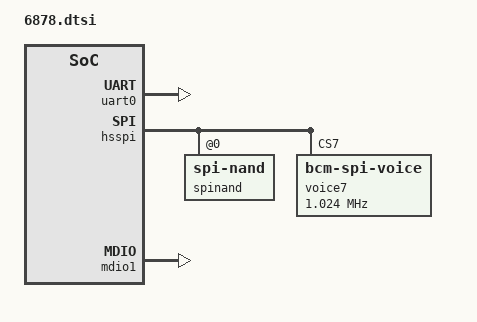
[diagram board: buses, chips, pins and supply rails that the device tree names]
/dts-v1/;

#include "linux_autoconf.h"

#include "../../boot_rsvdmem.dtsi"
#include "../../bcm_thermal.dtsi"

/ {
	/* arch */
	#define MODEL "Broadcom BCM96878"
	#define COMPATIBLE "brcm,bcm96878"
	#define PMU_CORE0_SPI			9
	#define PMU_CORE1_SPI			10
	#include "../../ip/bcm_cortexA7_dual.dtsi"

	#define PERIPH_CLK		200000000
	#define HS_SPI_PLL_CLK	200000000
	#include "../../ip/bcm_clocks.dtsi"

	/* memory reservations */
	#include "../../bcm_rsvdmem.dtsi"

	/* memc */
	memory_controller {
		#define BP_DDR_SUPPORT_2L_PCB	   1
		#define MEMC_REG_NAMES	"memc-int-clear-reg", \
					"memc-int-mask-clear-reg", \
					"phyctl_idle_pad_ctl",  \
					"phyctl_idle_pad_en0",  \
					"phyctl_idle_pad_en1",  \
					"phybl0_idle_pad_ctl",  \
					"phybl1_idle_pad_ctl",  \
					"phybl0_clock_idle",    \
					"phybl1_clock_idle",    \
					"auto_self_refresh",    \
					"glb_gcfg"

		#define MEMC_REG	<0x80180E08 4>, \
					<0x80180E14 4>, \
					<0x801A002C 4>, \
					<0x801A0030 4>, \
					<0x801A0030 4>, \
					<0x801A04AC 4>, \
					<0x801A06AC 4>, \
					<0x801A04D4 4>, \
					<0x801A06D4 4>, \
					<0x8018025C 4>, \
					<0x80180004 4>

		#define MEMC_CPU_INT_LINE		18

		#include "../../ip/memc.dtsi"
	};

	aliases {
        serial0 = &uart0;
		spi1 = &hsspi; /* 0 = legacy, 1 = high speed */
		hs_serial0 = &hs_uart0;
		spinand0 = &spinand;
		nand0 = &nand;	    
	};

	chosen {
	   stdout-path = "serial0:115200n8";
	   /* increase coherent_pool size */
	   bootargs = "coherent_pool=2M cpuidle_sysfs_switch pci=pcie_bus_safe console=ttyAMA0,115200 earlyprintk  rootwait pci=pcie_bus_safe rng_core.default_quality=1024";
	};

	/* wan type auto detect */
	wantype_detect {
		#define GPON_GENERAL_CONFIG_ADDR		0x82db1000
		#define GPON_GENERAL_CONFIG_SIZE		0x10
		#define EPON_TOP_ADDR				0x82dac000
		#define EPON_TOP_SIZE				0x1C
		#define EPON_LIF_ADDR				0x82dad800
		#define EPON_LIF_SIZE				0x110
		#include "../../ip/bcm_wantype_detect.dtsi"
	};

	misc_io {
		compatible = "brcm,misc-io";
		misc-periph-chip-id-rev = <0xff800000 0x4>;
		misc-periph-chip-id-mask = <0xfffff000>;
		misc-periph-chip-id-shift = <12>;
		misc-periph-chip-rev-mask = <0xfff>;
	};

	/* PMC */
	pmc: pmc {
		#define PMC_REG_OFFSET              0xffb20060
		#define PMC_REG_SIZE                0x1e0
		#include "../../ip/bcm_pmc_lite.dtsi"
	};

	/* UBUS */
	ubus: ubus {
		compatible = "simple-bus";
		#address-cells = <1>;
		#size-cells = <1>;
		ranges;

		ubus_sys: ubus_sys {
			#address-cells = <1>;
			#size-cells = <1>;
			#define UBUS_SYSTOP_OFFSET         0x83000000
			#define UBUS_SYSTOP_SIZE           0x80
			#define UBUS_REGISTRATION_OFFSET   0x83000200
			#define UBUS_REGISTRATION_SIZE     0x80
			#define UBUS_MODULE_XRDP           0x0
			#include "../../ip/bcm_ubus4.dtsi"
			ubus_mst_sys: ubus_mst {
				reg-names = "BIU", "PER", "USB", "WIFI0",
					"PCIE0", "QM", "DMA0", "RQ0";
				reg = <0x83020000 0x1000>,
					<0x83058000 0x1000>,
					<0x83038000 0x1000>,
					<0x83050000 0x1000>,
					<0x8300C000 0x1000>,
					<0x830AC000 0x1000>,
					<0x83064000 0x1000>,
					<0x83080000 0x1000>;
			};
		};

		ubus_dcm_sys: ubus_dcm_sys {
			#define UBUS_DCM_CLK_OFFSET  0x83000080
			#define UBUS_DCM_CLK_SIZE    0x80
			#define UBUS_MODULE_XRDP     0x0
			#include "../../ip/bcm_ubus4_dcm.dtsi"
		};
	};

	periph {
		compatible = "simple-bus";
		#address-cells = <1>;
		#size-cells = <1>;
		ranges = <0x0 0xff800000 0x100000>;

		/* boot state */
		boot_state: boot_state {
			#define RESET_REASON_OFFSET  0x2628
			#define RESET_REASON_SIZE    0x4
			#define RESET_STATUS_OFFSET  0x5a03c
			#define RESET_STATUS_SIZE    0x4
			#include "../../ip/bcm_boot_state_v2.dtsi"
		};
	
		strap: strap {
			#define STRAP_REG_OFFSET            0x2600
			#define STRAP_REG_SIZE              0x4
			#include "../../ip/bcm_strap.dtsi"
			boot-select-0=<5 1>;
			boot-select-1=<6 1>;
			boot-select-2=<7 1>;
			boot-select-3=<8 1>;
			boot-select-4=<9 1>;
			boot-select-5=<10 1>;
			bootrom-boot=<11 0>;
		};

		dying_gasp: dying_gasp {
			#define DG_PERIPH_REG_OFFSET	0x5A024
			#define DG_PERIPH_REG_SIZE	0x4
			#define DG_UART_DR_OFFSET	0x12000
			#define DG_UART_DR_SIZE		0x4
			#include "../../ip/bcm_dgasp_periph.dtsi"
			interrupts = <GIC_SPI 29 IRQ_TYPE_LEVEL_HIGH>;
		};

		otp: otp {
			#define OTP_REG_OFFSET            0x2800 
			#define OTP_REG_SIZE              0x78
			#include "../../ip/bcm_otp.dtsi"
		};

		nand: nand {
			pinctrl-0 = <&data_pins &nand_ctrl_pins>;
			pinctrl-names = "default";
			#define NAND_CTRL_OFFSET		0x1800
			#define NAND_CTRL_SIZE			0x400
			#define NAND_INTR_OFFSET		0x2000
			#define NAND_INTR_SIZE			0x10
			#define NAND_CACHE_OFFSET		0x1C00
			#define NAND_CACHE_SIZE			0x200
			#include "../../ip/bcm_nand7_1.dtsi"
		};

		hs_uart0: hs_serial0 {
			#define UART_OFFSET			0x10400
			#define UART_SIZE			0x1E0
			#define UART_SPI 			93
			#include "../../ip/bcm_hs_uart.dtsi"
		};

		/* UART */
		uart0: serial0 {
			#define UART_OFFSET			0x12000
			#define UART_SIZE			0x1000
			#define UART_SPI			92
			#define UART_CLK_LABEL			refclk50mhz
			#define UART_CLK			50000000
			#include "../../ip/bcm_arm_uart.dtsi"
		};
		
		rng: rng {
			#define RNG200_OFFSET			0xb80
			#define RNG200_SIZE			0x28
			#include "../../ip/bcm_rng200.dtsi"
		};

		/* i2c */
		i2c0: i2c0 {
			#define I2C_OFFSET			0x2100
			#define I2C_SIZE			0x60
			#include "../../ip/bcm_i2c_bus.dtsi"
		};

		/* watchdog */
		wdt: watchdog {
			#define WATCHDOG_OFFSET			0x480
			#define WATCHDOG_SIZE			0x10
			#define WATCHDOG_TIMEOUT		80
			#include "../../ip/bcm_wdt.dtsi"
			interrupts = <GIC_SPI 16 IRQ_TYPE_LEVEL_HIGH>;
		};

		/* periph timers */
		timers: timers {
			#define TIMERS_OFFSET		0x400
			#define TIMERS__SIZE		0x48
			#define TIMER0_SPI			11
			#define TIMER1_SPI			12
			#define TIMER2_SPI			13
			#define TIMER3_SPI			14
			#include "../../ip/bcm_timer.dtsi"
		};

		/* watchdog reboot */
		wdt-reboot {
			compatible = "wdt-reboot";
			wdt = <&wdt>;
		};
		
		pincontroller: pinctrl {
			#define PINCTRL_OFFSET       0x554
			#define PINCTRL_SIZE         0xc
			#define PINCTRL_NUM_PINS     71 
			#define PINCTRL_NUM_FUNC     8
			#define PINCTRL_GPIO_FUNC    4
			#include "../../ip/bcm_bca_pinctrl.dtsi"
			#include "6878_pinctrl.dtsi"
		};

		/* gpio */
		gpioc: gpioc {
			#define GPIO_DIR_OFFSET      0x500
			#define GPIO_DIR_SIZE        0x20
			#define GPIO_DATA_OFFSET     0x520
			#define GPIO_DATA_SIZE       0x20
			#define NUM_OF_GPIOS         71 
			#include "../../ip/bcm_bca_gpio.dtsi"
		};

		/* external interrups */
		bca_extintr: bca_extintr0 {
			#define EXTINTR_OFFSET       0x4
			#define EXTINTR_SIZE         0x48
			#define MAX_EXT_INTR         8
			#include "../../ip/bcm_bca_extintr.dtsi"
			external_interrupts = <177 178 179 180 181 182 183 184>;
		};

		/* Led Controller */
		led_ctrl: led_ctrl {
			#define LED_GLBL_CTRL_OFFSET     0x700
			#define LED_GLBL_CTRL_SIZE       0x4 
			#define LED_HW_EN_OFFSET         0x708
			#define LED_HW_EN_SIZE           0x4
			#define LED_SER_SHIFT_OFFSET     0x70c
			#define LED_SER_SHIFT_SIZE       0x4
			#define LED_FLASH_RATE_OFFSET    0x710
			#define LED_FLASH_RATE_SIZE      0x10
			#define LED_BRIGHTNESS_OFFSET    0x720
			#define LED_BRIGHTNESS_SIZE      0x10
			#define LED_POWER_LED_CFG_OFFSET 0x730
			#define LED_POWER_LED_CFG_SIZE   0x4
			#define LED_POWER_LUT_OFFSET     0x734
			#define LED_POWER_LUT_SIZE       0x80
			#define LED_HW_POLARITY_OFFSET   0x7b4
			#define LED_HW_POLARITY_SIZE     0x4
			#define LED_SW_DATA_OFFSET       0x7b8
			#define LED_SW_DATA_SIZE         0x4
			#define LED_SW_POLARITY_OFFSET   0x7bc
			#define LED_SW_POLARITY_SIZE     0x4
			#define LED_PAR_POLARITY_OFFSET  0x7c0
			#define LED_PAR_POLARITY_SIZE    0x4
			#define LED_SER_POLARITY_OFFSET  0x7c4
			#define LED_SER_POLARITY_SIZE    0x4
			#define LED_MASK_OFFSET          0x704
			#define LED_MASK_SIZE            0x4
			#define MAX_SUPPORTED_LEDS       32

			hw-polarity-quirk = <0xc0000000>;
			status = "okay";
			#include "../../ip/bcm_led_ctrl.dtsi"
			#include "6878_leds.dtsi"
		};

		/* HS SPI */
		hsspi: spi {
			pinctrl-0 = <&spim_group_pins>;
			pinctrl-names = "default";			
			#define HS_SPI_OFFSET			0x1000
			#define HS_SPI_SIZE			0x600
			#define HS_SPI_MAX_FREQ			50000000
			#include "../../ip/bcm_hsspi.dtsi"

			spinand: spi-nand@0 {
				pinctrl-0 = <&spim_ss0_b_pin_59>;
				pinctrl-names = "default";
				#define SPINAND_MAX_FREQ	50000000
				#include "../../ip/bcm_spinand.dtsi"
			};

			voice7 {
				pinctrl-0 = <&pcm_sdin_pin_0 &pcm_sdout_pin_1 &pcm_clk_pin_2 &pcm_fs_pin_3>;
				pinctrl-names = "default";
				compatible = "bcm-spi-voice";
				reg = <7>; /* chip select 7 */
				spi-index = <7>;/* ZSI/ISI header position index */
				spi-max-frequency = <1024000>;
			};
		};

		bcm63xx-apm-pcm {
			compatible = "brcm,bcm63xx-apm-pcm";
			reg = <0x60000 0x1c60>;
			interrupts = <GIC_SPI 114 IRQ_TYPE_LEVEL_HIGH>;
		};		
    };

    legacy_leds: legacy_leds {
        compatible = "brcm,legacy-led";
    };

    xrdpled {
		compatible = "brcm,xrdp-led";
        reg = <0x82d98200 0x80>;
    };

    unimac {
		compatible = "brcm,unimac";
        reg = <0x82da0000 0x5000>,
              <0x82da8000 0x1400>,
              <0x82daa000 0x1400>;
        conf_offset = <0x1000>;
        mib_offset = <0x400>;
        top_offset = <0x400>;
    };

    egphy {
		compatible = "brcm,egphy";
        reg = <0x82db2204 0x0c>;
    };

    mdio1 {
		compatible = "brcm,mdio1";
        reg = <0xff802060 0x10>;
    };

	rgmii: rgmii {
        compatible = "brcm,rgmii1";
        reg = <0x82d98300 0x44>,
              <0xff800500 0x78>,
              <0xff85a004 0x04>;
        status = "disabled";
	};

    mdio: mdio {
        compatible = "simple-bus";
        bus-type = "MDIO_V1";

        #address-cells = <1>;
        #size-cells = <0>;

        phy1:1 {
                compatible = "brcm,bcaphy";
                phy-type = "EGPHY";
                reg = <1>;
                status = "disabled";
        };

        phy2:2 {
                compatible = "brcm,bcaphy";
                phy-type = "EGPHY";
                reg = <2>;
                status = "disabled";
        };

        phy3:3 {
                compatible = "brcm,bcaphy";
                phy-type = "EGPHY";
                reg = <3>;
                status = "disabled";
        };

        phy4:4 {
                compatible = "brcm,bcaphy";
                phy-type = "EGPHY";
                reg = <4>;
                status = "disabled";
        };

        phy_rgmii:rgmii {
                compatible = "brcm,bcaphy";
                phy-type = "EXT1";
                status = "disabled";
        };
    };

    wan_serdes_bus {
        compatible = "simple-bus";

        #address-cells = <1>;
        #size-cells = <0>;

        phy_wan_serdes: phy_wan_serdes {
            compatible = "brcm,bcaphy";
            phy-type = "PON";
            reg = <0>;
            status = "disabled";
        };
    };

    switch0: switch {
        compatible = "brcm,enet";
        label = "bcmsw";
        sw-type = "RUNNER_SW";

        ports {
                #address-cells = <1>;
                #size-cells = <0>;

                port_gphy0 {
                        reg = <0>;
                        mac-type = "UNIMAC";
                        phy-handle = <&phy1>;
                        phy-mode = "gmii";
                        gmii-direct;
                        status = "disabled";
                };

                port_gphy1 {
                        reg = <1>;
                        mac-type = "UNIMAC";
                        phy-handle = <&phy2>;
                        phy-mode = "gmii";
                        gmii-direct;
                        status = "disabled";
                };

                port_gphy2 {
                        reg = <2>;
                        mac-type = "UNIMAC";
                        phy-handle = <&phy3>;
                        phy-mode = "gmii";
                        gmii-direct;
                        status = "disabled";
                };

                port_gphy3 {
                        reg = <3>;
                        mac-type = "UNIMAC";
                        phy-handle = <&phy4>;
                        phy-mode = "gmii";
                        gmii-direct;
                        status = "disabled";
                };

                port_rgmii {
                        reg = <4>;
                        mac-type = "UNIMAC";
                        phy-handle = <&phy_rgmii>;
                        phy-mode = "rgmii";
                        gmii-direct;
                        status = "disabled";
                };

                port_wan {
                        reg = <5>;
                        phy-handle = <&phy_wan_serdes>;
                        phy-mode = "serdes";
                        detect;
                        is-wan;
                        is-wanconf-mux-ae;
                        is-wanconf-mux-pon;
                        status = "disabled";
                };
        };
    };

    gpon_drv {
        compatible = "brcm,gpon-drv";
        reg = <0x82db0000 0x2000>;
        interrupts = <GIC_SPI 99  IRQ_TYPE_LEVEL_HIGH>, /* INTERRUPT_WAN_GPON_RX */
                     <GIC_SPI 98  IRQ_TYPE_LEVEL_HIGH>; /* INTERRUPT_WAN_GPON_TX */
        interrupt-names = "gpon_rx", "gpon_tx";
    };
    wan_serdes {
        compatible = "brcm,pon-drv";
        status = "disabled";
        reg = <0x82db2000 0x0100>;
    };
    epon_drv {
        compatible = "brcm,epon-drv";
        reg = <0x82dac000 0x4000>;
    };
	rdpa_drv {
        compatible = "brcm,rdpa";
        reg = <0x82000000 0x1000000>;
        interrupts = <GIC_SPI 160 IRQ_TYPE_LEVEL_HIGH>, /* INTERRUPT_XRDP_FPM */
                     <GIC_SPI 128 IRQ_TYPE_LEVEL_HIGH>, /* INTERRUPT_XRDP_QUEUE_0 */
                     <GIC_SPI 129 IRQ_TYPE_LEVEL_HIGH>, /* INTERRUPT_XRDP_QUEUE_1 */
                     <GIC_SPI 130 IRQ_TYPE_LEVEL_HIGH>, /* INTERRUPT_XRDP_QUEUE_2 */
                     <GIC_SPI 131 IRQ_TYPE_LEVEL_HIGH>, /* INTERRUPT_XRDP_QUEUE_3 */
                     <GIC_SPI 132 IRQ_TYPE_LEVEL_HIGH>, /* INTERRUPT_XRDP_QUEUE_4 */
                     <GIC_SPI 133 IRQ_TYPE_LEVEL_HIGH>, /* INTERRUPT_XRDP_QUEUE_5 */
                     <GIC_SPI 134 IRQ_TYPE_LEVEL_HIGH>, /* INTERRUPT_XRDP_QUEUE_6 */
                     <GIC_SPI 135 IRQ_TYPE_LEVEL_HIGH>, /* INTERRUPT_XRDP_QUEUE_7 */
                     <GIC_SPI 136 IRQ_TYPE_LEVEL_HIGH>, /* INTERRUPT_XRDP_QUEUE_8 */
                     <GIC_SPI 137 IRQ_TYPE_LEVEL_HIGH>, /* INTERRUPT_XRDP_QUEUE_9 */
                     <GIC_SPI 138 IRQ_TYPE_LEVEL_HIGH>, /* INTERRUPT_XRDP_QUEUE_10 */
                     <GIC_SPI 139 IRQ_TYPE_LEVEL_HIGH>, /* INTERRUPT_XRDP_QUEUE_11 */
                     <GIC_SPI 140 IRQ_TYPE_LEVEL_HIGH>, /* INTERRUPT_XRDP_QUEUE_12 */
                     <GIC_SPI 141 IRQ_TYPE_LEVEL_HIGH>, /* INTERRUPT_XRDP_QUEUE_13 */
                     <GIC_SPI 142 IRQ_TYPE_LEVEL_HIGH>, /* INTERRUPT_XRDP_QUEUE_14 */
                     <GIC_SPI 143 IRQ_TYPE_LEVEL_HIGH>, /* INTERRUPT_XRDP_QUEUE_15 */
                     <GIC_SPI 144 IRQ_TYPE_LEVEL_HIGH>, /* INTERRUPT_XRDP_QUEUE_16 */
                     <GIC_SPI 145 IRQ_TYPE_LEVEL_HIGH>, /* INTERRUPT_XRDP_QUEUE_17 */
                     <GIC_SPI 146 IRQ_TYPE_LEVEL_HIGH>, /* INTERRUPT_XRDP_QUEUE_18 */
                     <GIC_SPI 147 IRQ_TYPE_LEVEL_HIGH>, /* INTERRUPT_XRDP_QUEUE_19 */
                     <GIC_SPI 148 IRQ_TYPE_LEVEL_HIGH>, /* INTERRUPT_XRDP_QUEUE_20 */
                     <GIC_SPI 149 IRQ_TYPE_LEVEL_HIGH>, /* INTERRUPT_XRDP_QUEUE_21 */
                     <GIC_SPI 150 IRQ_TYPE_LEVEL_HIGH>, /* INTERRUPT_XRDP_QUEUE_22 */
                     <GIC_SPI 151 IRQ_TYPE_LEVEL_HIGH>, /* INTERRUPT_XRDP_QUEUE_23 */
                     <GIC_SPI 152 IRQ_TYPE_LEVEL_HIGH>, /* INTERRUPT_XRDP_QUEUE_24 */
                     <GIC_SPI 153 IRQ_TYPE_LEVEL_HIGH>, /* INTERRUPT_XRDP_QUEUE_25 */
                     <GIC_SPI 154 IRQ_TYPE_LEVEL_HIGH>, /* INTERRUPT_XRDP_QUEUE_26 */
                     <GIC_SPI 155 IRQ_TYPE_LEVEL_HIGH>, /* INTERRUPT_XRDP_QUEUE_27 */
                     <GIC_SPI 156 IRQ_TYPE_LEVEL_HIGH>, /* INTERRUPT_XRDP_QUEUE_28 */
                     <GIC_SPI 157 IRQ_TYPE_LEVEL_HIGH>, /* INTERRUPT_XRDP_QUEUE_29 */
                     <GIC_SPI 158 IRQ_TYPE_LEVEL_HIGH>, /* INTERRUPT_XRDP_QUEUE_30 */
                     <GIC_SPI 159 IRQ_TYPE_LEVEL_HIGH>; /* INTERRUPT_XRDP_QUEUE_31 */
        interrupt-names = "fpm", "queue0", "queue1", "queue2", "queue3", "queue4", "queue5",
                          "queue6", "queue7", "queue8", "queue9", "queue10", "queue11", 
                          "queue12", "queue13", "queue14", "queue15", "queue16", "queue17",
                          "queue18", "queue19", "queue20", "queue21", "queue22", "queue23",
                          "queue24", "queue25", "queue26", "queue27", "queue28", "queue29",
                          "queue30", "queue31";
	};
};
&uart0 {
	status = "okay";
};


&CA7_0 {
	cpu-release-addr = <0xFF800568>;
};

&CA7_1 {
	cpu-release-addr = <0xFF800568>;
};
